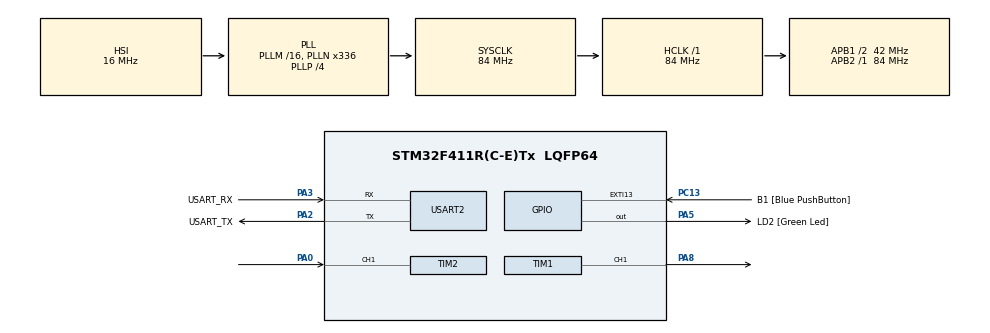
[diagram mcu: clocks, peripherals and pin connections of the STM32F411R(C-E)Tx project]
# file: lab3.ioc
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Dma.Request0=TIM2_CH1
Dma.TIM2_CH1.0.Direction=DMA_PERIPH_TO_MEMORY
Dma.TIM2_CH1.0.FIFOMode=DMA_FIFOMODE_DISABLE
Dma.TIM2_CH1.0.Instance=DMA1_Stream5
Dma.TIM2_CH1.0.MemDataAlignment=DMA_MDATAALIGN_WORD
Dma.TIM2_CH1.0.MemInc=DMA_MINC_ENABLE
Dma.TIM2_CH1.0.Mode=DMA_CIRCULAR
Dma.TIM2_CH1.0.PeriphDataAlignment=DMA_PDATAALIGN_WORD
Dma.TIM2_CH1.0.PeriphInc=DMA_PINC_DISABLE
Dma.TIM2_CH1.0.Priority=DMA_PRIORITY_LOW
Mcu.Family=STM32F4
Mcu.Name=STM32F411R(C-E)Tx
Mcu.Package=LQFP64
NVIC.DMA1_Stream5_IRQn=true\:0\:0\:false\:false\:true\:false\:true\:true
NVIC.PriorityGroup=NVIC_PRIORITYGROUP_0
PA0-WKUP.Signal=S_TIM2_CH1_ETR
PA13.GPIO_Label=TMS
PA13.Mode=Serial_Wire
PA13.Signal=SYS_JTMS-SWDIO
PA14.GPIO_Label=TCK
PA14.Mode=Serial_Wire
PA14.Signal=SYS_JTCK-SWCLK
PA2.GPIO_Label=USART_TX
PA2.Mode=Asynchronous
PA2.Signal=USART2_TX
PA3.GPIO_Label=USART_RX
PA3.Mode=Asynchronous
PA3.Signal=USART2_RX
PA5.GPIO_Label=LD2 [Green Led]
PA5.Signal=GPIO_Output
PA8.Signal=S_TIM1_CH1
PB3.GPIO_Label=SWO
PB3.Signal=SYS_JTDO-SWO
PC13-ANTI_TAMP.GPIO_Label=B1 [Blue PushButton]
PC13-ANTI_TAMP.GPIO_ModeDefaultEXTI=GPIO_MODE_IT_FALLING
PC13-ANTI_TAMP.Signal=GPXTI13
PC14-OSC32_IN.Mode=LSE-External-Oscillator
PC14-OSC32_IN.Signal=RCC_OSC32_IN
PC15-OSC32_OUT.Mode=LSE-External-Oscillator
PC15-OSC32_OUT.Signal=RCC_OSC32_OUT
PH0\ -\ OSC_IN.Mode=HSE-External-Clock-Source
PH0\ -\ OSC_IN.Signal=RCC_OSC_IN
PH1\ -\ OSC_OUT.Mode=HSE-External-Clock-Source
PH1\ -\ OSC_OUT.Signal=RCC_OSC_OUT
ProjectManager.HeapSize=0x200
ProjectManager.StackSize=0x400
ProjectManager.TargetToolchain=STM32CubeIDE
RCC.48MHZClocksFreq_Value=84000000
RCC.AHBFreq_Value=84000000
RCC.APB1CLKDivider=RCC_HCLK_DIV2
RCC.APB1Freq_Value=42000000
RCC.APB1TimFreq_Value=84000000
RCC.APB2Freq_Value=84000000
RCC.APB2TimFreq_Value=84000000
RCC.CortexFreq_Value=84000000
RCC.FLatency-AdvancedSettings=FLASH_LATENCY_2
RCC.HCLKFreq_Value=84000000
RCC.HSE_VALUE=8000000
RCC.HSI_VALUE=16000000
RCC.PLLN=336
RCC.PLLP=RCC_PLLP_DIV4
RCC.SYSCLKFreq_VALUE=84000000
RCC.SYSCLKSource=RCC_SYSCLKSOURCE_PLLCLK
RCC.VCOOutputFreq_Value=336000000
SH.S_TIM1_CH1.0=TIM1_CH1,PWM Generation1 CH1
SH.S_TIM2_CH1_ETR.0=TIM2_CH1,Input_Capture1_from_TI1
TIM1.Channel-PWM\ Generation1\ CH1=TIM_CHANNEL_1
TIM1.Period=1000
TIM1.Prescaler=83
TIM1.Pulse-PWM\ Generation1\ CH1=500
TIM2.Channel-Input_Capture1_from_TI1=TIM_CHANNEL_1
TIM2.Prescaler=83
USART2.VirtualMode=VM_ASYNC
VP_TIM1_VS_ClockSourceINT.Mode=Internal
VP_TIM2_VS_ClockSourceINT.Mode=Internal
board=NUCLEO-F411RE

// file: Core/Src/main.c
/* USER CODE BEGIN Header */
/**
  ******************************************************************************
  * @file           : main.c
  * @brief          : Main program body
  ******************************************************************************
  * @attention
  *
  * Copyright (c) 2023 STMicroelectronics.
  * All rights reserved.
  *
  * This software is licensed under terms that can be found in the LICENSE file
  * in the root directory of this software component.
  * If no LICENSE file comes with this software, it is provided AS-IS.
  *
  ******************************************************************************
  */
/* USER CODE END Header */
#include "main.h"
#include <math.h>
/* USER CODE BEGIN Includes */
#define IC_BUFFER_SIZE 20
/* USER CODE END Includes */

TIM_HandleTypeDef htim1;
TIM_HandleTypeDef htim2;
DMA_HandleTypeDef hdma_tim2_ch1;

UART_HandleTypeDef huart2;

/* USER CODE BEGIN PV */
uint16_t dutypercent = 50 ,MotorControlEnable;

int32_t InputCaptureBuffer[IC_BUFFER_SIZE];
float MotorReadRPM,MotorSetRPM;
/* USER CODE END PV */

void SystemClock_Config(void);
static void MX_GPIO_Init(void);
static void MX_DMA_Init(void);
static void MX_USART2_UART_Init(void);
static void MX_TIM2_Init(void);
static void MX_TIM1_Init(void);
/* USER CODE BEGIN PFP */
float IC_Calc_Period();
/* USER CODE END PFP */

int main(void)
{

  /* MCU Configuration--------------------------------------------------------*/

  /* Reset of all peripherals, Initializes the Flash interface and the Systick. */
  HAL_Init();

  /* Configure the system clock */
  SystemClock_Config();

  /* Initialize all configured peripherals */
  MX_GPIO_Init();
  MX_DMA_Init();
  MX_USART2_UART_Init();
  MX_TIM2_Init();
  MX_TIM1_Init();
  /* USER CODE BEGIN 2 */
HAL_TIM_Base_Start(&htim1);
HAL_TIM_PWM_Start(&htim1, TIM_CHANNEL_1);

HAL_TIM_Base_Start(&htim2);
HAL_TIM_IC_Start_DMA(&htim2, TIM_CHANNEL_1, InputCaptureBuffer, IC_BUFFER_SIZE);

  /* USER CODE END 2 */

  /* Infinite loop */
  while (1)
  {
	  static uint32_t timestamp;
	  if(HAL_GetTick() >= timestamp)
	  {
		  timestamp += 500;
		  if( 7 < MotorSetRPM && MotorSetRPM <= 26 && MotorControlEnable)
		  {
			  dutypercent = (log(26-MotorSetRPM)-3.476)/(-0.044);
		  }
		  else if(MotorControlEnable)
		  {
			  dutypercent = 0;
		  }

		  __HAL_TIM_SET_COMPARE(&htim1,TIM_CHANNEL_1,dutypercent*10);

	  }
	  MotorReadRPM = 1000000*60/(12*64*IC_Calc_Period());
  }
}

void SystemClock_Config(void)
{
  RCC_OscInitTypeDef RCC_OscInitStruct = {0};
  RCC_ClkInitTypeDef RCC_ClkInitStruct = {0};

  /** Configure the main internal regulator output voltage
  */
  __HAL_RCC_PWR_CLK_ENABLE();
  __HAL_PWR_VOLTAGESCALING_CONFIG(PWR_REGULATOR_VOLTAGE_SCALE1);

  /** Initializes the RCC Oscillators according to the specified parameters
  * in the RCC_OscInitTypeDef structure.
  */
  RCC_OscInitStruct.OscillatorType = RCC_OSCILLATORTYPE_HSI;
  RCC_OscInitStruct.HSIState = RCC_HSI_ON;
  RCC_OscInitStruct.HSICalibrationValue = RCC_HSICALIBRATION_DEFAULT;
  RCC_OscInitStruct.PLL.PLLState = RCC_PLL_ON;
  RCC_OscInitStruct.PLL.PLLSource = RCC_PLLSOURCE_HSI;
  RCC_OscInitStruct.PLL.PLLM = 16;
  RCC_OscInitStruct.PLL.PLLN = 336;
  RCC_OscInitStruct.PLL.PLLP = RCC_PLLP_DIV4;
  RCC_OscInitStruct.PLL.PLLQ = 4;
  if (HAL_RCC_OscConfig(&RCC_OscInitStruct) != HAL_OK)
  {
    Error_Handler();
  }

  /** Initializes the CPU, AHB and APB buses clocks
  */
  RCC_ClkInitStruct.ClockType = RCC_CLOCKTYPE_HCLK|RCC_CLOCKTYPE_SYSCLK
                              |RCC_CLOCKTYPE_PCLK1|RCC_CLOCKTYPE_PCLK2;
  RCC_ClkInitStruct.SYSCLKSource = RCC_SYSCLKSOURCE_PLLCLK;
  RCC_ClkInitStruct.AHBCLKDivider = RCC_SYSCLK_DIV1;
  RCC_ClkInitStruct.APB1CLKDivider = RCC_HCLK_DIV2;
  RCC_ClkInitStruct.APB2CLKDivider = RCC_HCLK_DIV1;

  if (HAL_RCC_ClockConfig(&RCC_ClkInitStruct, FLASH_LATENCY_2) != HAL_OK)
  {
    Error_Handler();
  }
}

static void MX_TIM1_Init(void)
{

  TIM_ClockConfigTypeDef sClockSourceConfig = {0};
  TIM_MasterConfigTypeDef sMasterConfig = {0};
  TIM_OC_InitTypeDef sConfigOC = {0};
  TIM_BreakDeadTimeConfigTypeDef sBreakDeadTimeConfig = {0};

  htim1.Instance = TIM1;
  htim1.Init.Prescaler = 83;
  htim1.Init.CounterMode = TIM_COUNTERMODE_UP;
  htim1.Init.Period = 1000;
  htim1.Init.ClockDivision = TIM_CLOCKDIVISION_DIV1;
  htim1.Init.RepetitionCounter = 0;
  htim1.Init.AutoReloadPreload = TIM_AUTORELOAD_PRELOAD_DISABLE;
  if (HAL_TIM_Base_Init(&htim1) != HAL_OK)
  {
    Error_Handler();
  }
  sClockSourceConfig.ClockSource = TIM_CLOCKSOURCE_INTERNAL;
  if (HAL_TIM_ConfigClockSource(&htim1, &sClockSourceConfig) != HAL_OK)
  {
    Error_Handler();
  }
  if (HAL_TIM_PWM_Init(&htim1) != HAL_OK)
  {
    Error_Handler();
  }
  sMasterConfig.MasterOutputTrigger = TIM_TRGO_RESET;
  sMasterConfig.MasterSlaveMode = TIM_MASTERSLAVEMODE_DISABLE;
  if (HAL_TIMEx_MasterConfigSynchronization(&htim1, &sMasterConfig) != HAL_OK)
  {
    Error_Handler();
  }
  sConfigOC.OCMode = TIM_OCMODE_PWM1;
  sConfigOC.Pulse = 500;
  sConfigOC.OCPolarity = TIM_OCPOLARITY_HIGH;
  sConfigOC.OCNPolarity = TIM_OCNPOLARITY_HIGH;
  sConfigOC.OCFastMode = TIM_OCFAST_DISABLE;
  sConfigOC.OCIdleState = TIM_OCIDLESTATE_RESET;
  sConfigOC.OCNIdleState = TIM_OCNIDLESTATE_RESET;
  if (HAL_TIM_PWM_ConfigChannel(&htim1, &sConfigOC, TIM_CHANNEL_1) != HAL_OK)
  {
    Error_Handler();
  }
  sBreakDeadTimeConfig.OffStateRunMode = TIM_OSSR_DISABLE;
  sBreakDeadTimeConfig.OffStateIDLEMode = TIM_OSSI_DISABLE;
  sBreakDeadTimeConfig.LockLevel = TIM_LOCKLEVEL_OFF;
  sBreakDeadTimeConfig.DeadTime = 0;
  sBreakDeadTimeConfig.BreakState = TIM_BREAK_DISABLE;
  sBreakDeadTimeConfig.BreakPolarity = TIM_BREAKPOLARITY_HIGH;
  sBreakDeadTimeConfig.AutomaticOutput = TIM_AUTOMATICOUTPUT_DISABLE;
  if (HAL_TIMEx_ConfigBreakDeadTime(&htim1, &sBreakDeadTimeConfig) != HAL_OK)
  {
    Error_Handler();
  }
  HAL_TIM_MspPostInit(&htim1);

}

static void MX_TIM2_Init(void)
{

  TIM_ClockConfigTypeDef sClockSourceConfig = {0};
  TIM_MasterConfigTypeDef sMasterConfig = {0};
  TIM_IC_InitTypeDef sConfigIC = {0};

  htim2.Instance = TIM2;
  htim2.Init.Prescaler = 83;
  htim2.Init.CounterMode = TIM_COUNTERMODE_UP;
  htim2.Init.Period = 4294967295;
  htim2.Init.ClockDivision = TIM_CLOCKDIVISION_DIV1;
  htim2.Init.AutoReloadPreload = TIM_AUTORELOAD_PRELOAD_DISABLE;
  if (HAL_TIM_Base_Init(&htim2) != HAL_OK)
  {
    Error_Handler();
  }
  sClockSourceConfig.ClockSource = TIM_CLOCKSOURCE_INTERNAL;
  if (HAL_TIM_ConfigClockSource(&htim2, &sClockSourceConfig) != HAL_OK)
  {
    Error_Handler();
  }
  if (HAL_TIM_IC_Init(&htim2) != HAL_OK)
  {
    Error_Handler();
  }
  sMasterConfig.MasterOutputTrigger = TIM_TRGO_RESET;
  sMasterConfig.MasterSlaveMode = TIM_MASTERSLAVEMODE_DISABLE;
  if (HAL_TIMEx_MasterConfigSynchronization(&htim2, &sMasterConfig) != HAL_OK)
  {
    Error_Handler();
  }
  sConfigIC.ICPolarity = TIM_INPUTCHANNELPOLARITY_RISING;
  sConfigIC.ICSelection = TIM_ICSELECTION_DIRECTTI;
  sConfigIC.ICPrescaler = TIM_ICPSC_DIV1;
  sConfigIC.ICFilter = 0;
  if (HAL_TIM_IC_ConfigChannel(&htim2, &sConfigIC, TIM_CHANNEL_1) != HAL_OK)
  {
    Error_Handler();
  }

}

static void MX_USART2_UART_Init(void)
{

  huart2.Instance = USART2;
  huart2.Init.BaudRate = 115200;
  huart2.Init.WordLength = UART_WORDLENGTH_8B;
  huart2.Init.StopBits = UART_STOPBITS_1;
  huart2.Init.Parity = UART_PARITY_NONE;
  huart2.Init.Mode = UART_MODE_TX_RX;
  huart2.Init.HwFlowCtl = UART_HWCONTROL_NONE;
  huart2.Init.OverSampling = UART_OVERSAMPLING_16;
  if (HAL_UART_Init(&huart2) != HAL_OK)
  {
    Error_Handler();
  }

}

static void MX_DMA_Init(void)
{

  /* DMA controller clock enable */
  __HAL_RCC_DMA1_CLK_ENABLE();

  /* DMA interrupt init */
  /* DMA1_Stream5_IRQn interrupt configuration */
  HAL_NVIC_SetPriority(DMA1_Stream5_IRQn, 0, 0);
  HAL_NVIC_EnableIRQ(DMA1_Stream5_IRQn);

}

static void MX_GPIO_Init(void)
{
  GPIO_InitTypeDef GPIO_InitStruct = {0};

  /* GPIO Ports Clock Enable */
  __HAL_RCC_GPIOC_CLK_ENABLE();
  __HAL_RCC_GPIOH_CLK_ENABLE();
  __HAL_RCC_GPIOA_CLK_ENABLE();
  __HAL_RCC_GPIOB_CLK_ENABLE();

  /*Configure GPIO pin Output Level */
  HAL_GPIO_WritePin(LD2_GPIO_Port, LD2_Pin, GPIO_PIN_RESET);

  /*Configure GPIO pin : B1_Pin */
  GPIO_InitStruct.Pin = B1_Pin;
  GPIO_InitStruct.Mode = GPIO_MODE_IT_FALLING;
  GPIO_InitStruct.Pull = GPIO_NOPULL;
  HAL_GPIO_Init(B1_GPIO_Port, &GPIO_InitStruct);

  /*Configure GPIO pin : LD2_Pin */
  GPIO_InitStruct.Pin = LD2_Pin;
  GPIO_InitStruct.Mode = GPIO_MODE_OUTPUT_PP;
  GPIO_InitStruct.Pull = GPIO_NOPULL;
  GPIO_InitStruct.Speed = GPIO_SPEED_FREQ_LOW;
  HAL_GPIO_Init(LD2_GPIO_Port, &GPIO_InitStruct);

}

/* USER CODE BEGIN 4 */
float IC_Calc_Period()
{
	int window_size = 5;
	uint32_t firstValue = (IC_BUFFER_SIZE - __HAL_DMA_GET_COUNTER(htim2.hdma[1]) - window_size -1)%IC_BUFFER_SIZE;
	uint32_t sumdiff = 0;
	for (int i = firstValue; i < firstValue+window_size; i++)
	{
		sumdiff += InputCaptureBuffer[(i+1)%IC_BUFFER_SIZE]-InputCaptureBuffer[i];
	}
	return sumdiff/(window_size/1.0);
}
/* USER CODE END 4 */

void Error_Handler(void)
{
  __disable_irq();
  while (1)
  {
  }
}
